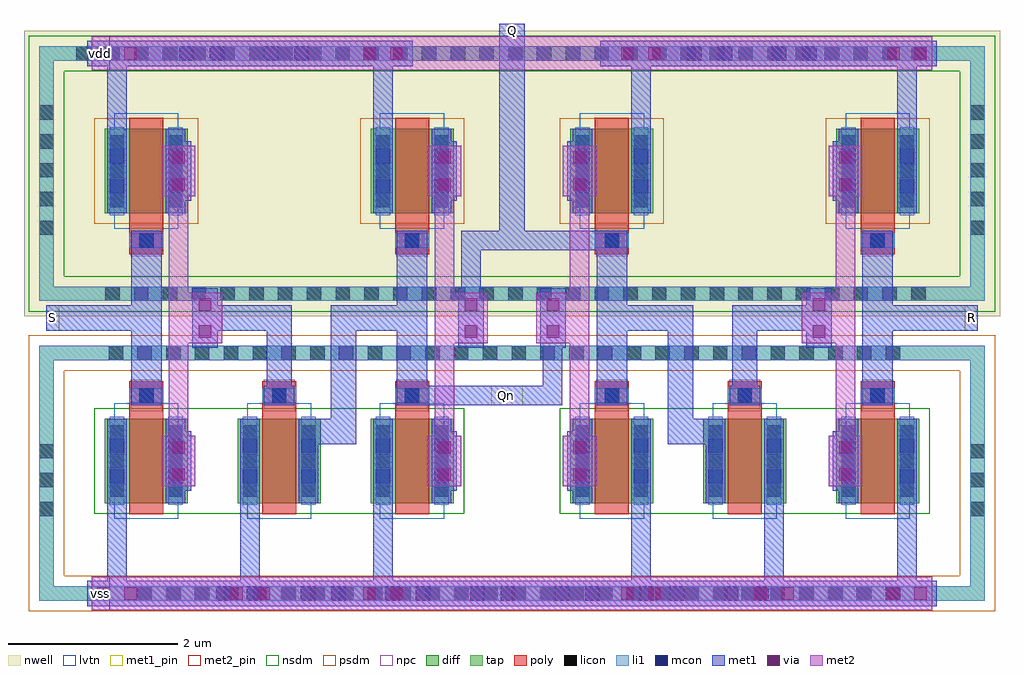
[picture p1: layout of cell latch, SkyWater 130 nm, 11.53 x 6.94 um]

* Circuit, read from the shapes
.subckt latch Q Qn R S vdd vss
XM1 n1 S vss vss sky130_fd_pr__nfet_01v8_lvt w=1 l=0.4
XM2 Qn n1 vss vss sky130_fd_pr__nfet_01v8_lvt w=1 l=0.4
XM3 Q Qn vss vss sky130_fd_pr__nfet_01v8_lvt w=1 l=0.4
XM4 vss Q Qn vss sky130_fd_pr__nfet_01v8_lvt w=1 l=0.4
XM5 vss n2 Q vss sky130_fd_pr__nfet_01v8_lvt w=1 l=0.4
XM6 vss R n2 vss sky130_fd_pr__nfet_01v8_lvt w=1 l=0.4
XM7 n1 S vdd vdd sky130_fd_pr__pfet_01v8_lvt w=1 l=0.4
XM8 Q Qn vdd vdd sky130_fd_pr__pfet_01v8_lvt w=1 l=0.4
XM9 vdd Q Qn vdd sky130_fd_pr__pfet_01v8_lvt w=1 l=0.4
XM10 vdd R n2 vdd sky130_fd_pr__pfet_01v8_lvt w=1 l=0.4
.ends

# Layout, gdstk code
import gdstk
lib = gdstk.Library(unit=1e-6, precision=1e-09)
def R(c, l, rs):  # rectangles x0, y0, x1, y1
    for r in rs: c.add(gdstk.rectangle(r[:2], r[2:], *l))
def A(c, l, x, y, w, h, nx, ny, dx, dy):  # array of equal rectangles
    R(c, l, [(x+i*dx, y+j*dy, x+i*dx+w, y+j*dy+h) for i in range(nx) for j in range(ny)])
nwell = (64, 20)
diff = (65, 20)
tap = (65, 44)
poly = (66, 20)
licon = (66, 44)
li1 = (67, 20)
mcon = (67, 44)
met1_pin = (68, 16)
met1 = (68, 20)
via = (68, 44)
met2_pin = (69, 16)
met2 = (69, 20)
nsdm = (93, 44)
psdm = (94, 20)
npc = (95, 20)
lvtn = (125, 44)

latch = lib.new_cell('latch')
R(latch, nwell, [(0,3.285,11.53,6.655)])
A(latch, diff, 0.955, 1.075, 0.98, 1, 3, 1, 1.57, 0)
A(latch, diff, 6.455, 1.075, 0.98, 1, 3, 1, 1.57, 0)
R(latch, diff, [(0.955,4.5,1.935,5.5), (4.095,4.5,5.075,5.5), (6.455,4.5,7.435,5.5), (9.595,4.5,10.575,5.5)])
R(latch, tap, [(0.18,-0.075,11.35,0.095), (0.18,0.095,0.35,2.765), (11.18,0.095,11.35,2.765), (0.18,2.765,11.35,2.935), (0.18,3.465,11.35,3.635), (0.18,3.635,0.35,6.305), (11.18,3.635,11.35,6.305), (0.18,6.305,11.35,6.475)])
A(latch, poly, 1.245, 0.945, 0.4, 1.57, 3, 1, 1.57, 0)
A(latch, poly, 6.745, 0.945, 0.4, 1.57, 3, 1, 1.57, 0)
R(latch, poly, [(1.245,4.015,1.645,5.63), (4.385,4.015,4.785,5.63), (6.745,4.015,7.145,5.63), (9.885,4.015,10.285,5.63)])
A(latch, licon, 1.34, -0.075, 0.17, 0.17, 27, 1, 0.34, 0)
A(latch, licon, 0.18, 0.925, 0.17, 0.17, 1, 3, 0, 0.34)
A(latch, licon, 11.18, 0.925, 0.17, 0.17, 1, 3, 0, 0.34)
A(latch, licon, 1.015, 1.15, 0.17, 0.17, 1, 3, 0, 0.34)
A(latch, licon, 1.705, 1.15, 0.17, 0.17, 1, 3, 0, 0.34)
A(latch, licon, 2.585, 1.15, 0.17, 0.17, 1, 3, 0, 0.34)
A(latch, licon, 3.275, 1.15, 0.17, 0.17, 1, 3, 0, 0.34)
A(latch, licon, 4.155, 1.15, 0.17, 0.17, 1, 3, 0, 0.34)
A(latch, licon, 4.845, 1.15, 0.17, 0.17, 1, 3, 0, 0.34)
A(latch, licon, 6.515, 1.15, 0.17, 0.17, 1, 3, 0, 0.34)
A(latch, licon, 7.205, 1.15, 0.17, 0.17, 1, 3, 0, 0.34)
A(latch, licon, 8.085, 1.15, 0.17, 0.17, 1, 3, 0, 0.34)
A(latch, licon, 8.775, 1.15, 0.17, 0.17, 1, 3, 0, 0.34)
A(latch, licon, 9.655, 1.15, 0.17, 0.17, 1, 3, 0, 0.34)
A(latch, licon, 10.345, 1.15, 0.17, 0.17, 1, 3, 0, 0.34)
A(latch, licon, 1.36, 2.265, 0.17, 0.17, 3, 1, 1.57, 0)
A(latch, licon, 6.86, 2.265, 0.17, 0.17, 3, 1, 1.57, 0)
A(latch, licon, 1, 2.765, 0.17, 0.17, 28, 1, 0.34, 0)
A(latch, licon, 0.96, 3.465, 0.17, 0.17, 29, 1, 0.34, 0)
A(latch, licon, 0.18, 4.245, 0.17, 0.17, 1, 5, 0, 0.34)
A(latch, licon, 11.18, 4.245, 0.17, 0.17, 1, 5, 0, 0.34)
A(latch, licon, 1.015, 4.575, 0.17, 0.17, 1, 3, 0, 0.34)
A(latch, licon, 1.705, 4.575, 0.17, 0.17, 1, 3, 0, 0.34)
A(latch, licon, 4.155, 4.575, 0.17, 0.17, 1, 3, 0, 0.34)
A(latch, licon, 4.845, 4.575, 0.17, 0.17, 1, 3, 0, 0.34)
A(latch, licon, 6.515, 4.575, 0.17, 0.17, 1, 3, 0, 0.34)
A(latch, licon, 7.205, 4.575, 0.17, 0.17, 1, 3, 0, 0.34)
A(latch, licon, 9.655, 4.575, 0.17, 0.17, 1, 3, 0, 0.34)
A(latch, licon, 10.345, 4.575, 0.17, 0.17, 1, 3, 0, 0.34)
A(latch, licon, 0.62, 6.305, 0.17, 0.17, 30, 1, 0.34, 0)
R(latch, licon, [(1.36,4.095,1.53,4.265), (4.5,4.095,4.67,4.265), (6.86,4.095,7.03,4.265), (10,4.095,10.17,4.265)])
A(latch, li1, 1.245, 2.265, 0.4, 0.17, 3, 1, 1.57, 0)
A(latch, li1, 6.745, 2.265, 0.4, 0.17, 3, 1, 1.57, 0)
R(latch, li1, [(0.18,-0.075,11.35,0.095), (0.18,0.095,0.35,2.765), (11.18,0.095,11.35,2.765), (1.015,1.055,1.185,2.095), (1.705,1.055,1.875,2.095), (2.585,1.055,2.755,2.095), (3.275,1.055,3.445,2.095), (4.155,1.055,4.325,2.095), (4.845,1.055,5.015,2.095), (6.515,1.055,6.685,2.095), (7.205,1.055,7.375,2.095), (8.085,1.055,8.255,2.095), (8.775,1.055,8.945,2.095), (9.655,1.055,9.825,2.095), (10.345,1.055,10.515,2.095), (0.18,2.765,11.35,2.935), (0.18,3.465,11.35,3.635), (0.18,3.635,0.35,6.305), (11.18,3.635,11.35,6.305), (1.245,4.095,1.645,4.265), (4.385,4.095,4.785,4.265), (6.745,4.095,7.145,4.265), (9.885,4.095,10.285,4.265), (1.015,4.48,1.185,5.52), (1.705,4.48,1.875,5.52), (4.155,4.48,4.325,5.52), (4.845,4.48,5.015,5.52), (6.515,4.48,6.685,5.52), (7.205,4.48,7.375,5.52), (9.655,4.48,9.825,5.52), (10.345,4.48,10.515,5.52), (0.18,6.305,11.35,6.475)])
A(latch, mcon, 1.36, 2.265, 0.17, 0.17, 3, 1, 1.57, 0)
A(latch, mcon, 6.86, 2.265, 0.17, 0.17, 3, 1, 1.57, 0)
R(latch, mcon, [(2.27,-0.075,2.44,0.095), (2.63,-0.075,2.8,0.095), (3.27,-0.075,3.44,0.095), (3.63,-0.075,3.8,0.095), (4.27,-0.075,4.44,0.095), (4.63,-0.075,4.8,0.095), (5.27,-0.075,5.44,0.095), (5.63,-0.075,5.8,0.095), (6.27,-0.075,6.44,0.095), (6.63,-0.075,6.8,0.095), (7.27,-0.075,7.44,0.095), (7.63,-0.075,7.8,0.095), (8.27,-0.075,8.44,0.095), (8.63,-0.075,8.8,0.095), (1.015,1.31,1.185,1.48), (1.705,1.31,1.875,1.48), (2.585,1.31,2.755,1.48), (3.275,1.31,3.445,1.48), (4.155,1.31,4.325,1.48), (4.845,1.31,5.015,1.48), (6.515,1.31,6.685,1.48), (7.205,1.31,7.375,1.48), (8.085,1.31,8.255,1.48), (8.775,1.31,8.945,1.48), (9.655,1.31,9.825,1.48), (10.345,1.31,10.515,1.48), (1.015,1.67,1.185,1.84), (1.705,1.67,1.875,1.84), (2.585,1.67,2.755,1.84), (3.275,1.67,3.445,1.84), (4.155,1.67,4.325,1.84), (4.845,1.67,5.015,1.84), (6.515,1.67,6.685,1.84), (7.205,1.67,7.375,1.84), (8.085,1.67,8.255,1.84), (8.775,1.67,8.945,1.84), (9.655,1.67,9.825,1.84), (10.345,1.67,10.515,1.84), (1.36,4.095,1.53,4.265), (4.5,4.095,4.67,4.265), (6.86,4.095,7.03,4.265), (10,4.095,10.17,4.265), (1.015,4.735,1.185,4.905), (1.705,4.735,1.875,4.905), (4.155,4.735,4.325,4.905), (4.845,4.735,5.015,4.905), (6.515,4.735,6.685,4.905), (7.205,4.735,7.375,4.905), (9.655,4.735,9.825,4.905), (10.345,4.735,10.515,4.905), (1.015,5.095,1.185,5.265), (1.705,5.095,1.875,5.265), (4.155,5.095,4.325,5.265), (4.845,5.095,5.015,5.265), (6.515,5.095,6.685,5.265), (7.205,5.095,7.375,5.265), (9.655,5.095,9.825,5.265), (10.345,5.095,10.515,5.265), (1.835,6.305,2.005,6.475), (2.195,6.305,2.365,6.475), (2.835,6.305,3.005,6.475), (3.195,6.305,3.365,6.475), (7.835,6.305,8.005,6.475), (8.195,6.305,8.365,6.475), (8.835,6.305,9.005,6.475), (9.195,6.305,9.365,6.475)])
R(latch, met1_pin, [(5.52,2.235,5.89,2.465), (0.265,3.115,0.415,3.415), (11.115,3.115,11.265,3.415), (5.615,6.59,5.915,6.74)])
A(latch, met1, 0.985, 0.16, 0.23, 1.915, 3, 1, 1.57, 0)
A(latch, met1, 7.175, 0.16, 0.23, 1.915, 3, 1, 1.57, 0)
R(latch, met1, [(0.75,-0.14,10.78,0.16), (1.675,1.075,1.905,1.225), (3.245,1.075,3.475,1.775), (4.815,1.075,5.045,1.225), (6.485,1.075,6.715,1.225), (8.055,1.075,8.285,1.775), (9.625,1.075,9.855,1.225), (1.675,1.225,1.975,1.925), (4.815,1.225,5.115,1.925), (6.415,1.225,6.715,1.925), (9.555,1.225,9.855,1.925), (3.245,1.775,3.925,2.075), (7.605,1.775,8.285,2.075), (1.675,1.925,1.905,2.075), (4.815,1.925,5.045,2.075), (6.485,1.925,6.715,2.075), (9.625,1.925,9.855,2.075), (3.625,2.075,3.925,3.115), (7.605,2.075,7.905,3.115), (1.265,2.235,1.625,3.115), (2.835,2.235,3.195,2.465), (4.405,2.235,6.36,2.465), (6.765,2.235,7.125,3.115), (8.335,2.235,8.695,2.465), (9.905,2.235,10.265,3.115), (2.865,2.465,3.165,3.115), (4.405,2.465,4.765,3.115), (6.13,2.465,6.36,2.915), (8.365,2.465,8.665,3.115), (1.99,2.915,2.29,3.115), (5.13,2.915,5.43,3.615), (6.1,2.915,6.4,3.615), (9.24,2.915,9.54,3.115), (0.265,3.115,1.625,3.415), (1.99,3.115,3.165,3.415), (3.625,3.115,4.765,3.415), (6.765,3.115,7.905,3.415), (8.365,3.115,9.54,3.415), (9.905,3.115,11.265,3.415), (1.265,3.415,1.625,4.295), (1.99,3.415,2.29,3.615), (4.405,3.415,4.765,4.295), (6.765,3.415,7.125,4.065), (9.24,3.415,9.54,3.615), (9.905,3.415,10.265,4.295), (5.165,3.615,5.395,4.065), (5.165,4.065,7.125,4.295), (5.615,4.295,5.915,6.74), (0.985,4.5,1.215,6.24), (1.675,4.5,1.905,4.65), (4.125,4.5,4.355,6.24), (4.815,4.5,5.045,4.65), (6.485,4.5,6.715,4.65), (7.175,4.5,7.405,6.24), (9.625,4.5,9.855,4.65), (10.315,4.5,10.545,6.24), (1.675,4.65,1.975,5.35), (4.815,4.65,5.115,5.35), (6.415,4.65,6.715,5.35), (9.555,4.65,9.855,5.35), (1.675,5.35,1.905,5.5), (4.815,5.35,5.045,5.5), (6.485,5.35,6.715,5.5), (9.625,5.35,9.855,5.5), (0.75,6.24,4.59,6.54), (6.805,6.24,10.78,6.54)])
R(latch, via, [(0.865,-0.065,1.015,0.085), (1.185,-0.065,1.335,0.085), (2.435,-0.065,2.585,0.085), (2.755,-0.065,2.905,0.085), (4.005,-0.065,4.155,0.085), (4.325,-0.065,4.475,0.085), (7.055,-0.065,7.205,0.085), (7.375,-0.065,7.525,0.085), (8.625,-0.065,8.775,0.085), (8.945,-0.065,9.095,0.085), (10.195,-0.065,10.345,0.085), (10.515,-0.065,10.665,0.085), (1.75,1.34,1.9,1.49), (4.89,1.34,5.04,1.49), (6.49,1.34,6.64,1.49), (9.63,1.34,9.78,1.49), (1.75,1.66,1.9,1.81), (4.89,1.66,5.04,1.81), (6.49,1.66,6.64,1.81), (9.63,1.66,9.78,1.81), (2.065,3.03,2.215,3.18), (5.205,3.03,5.355,3.18), (6.175,3.03,6.325,3.18), (9.315,3.03,9.465,3.18), (2.065,3.35,2.215,3.5), (5.205,3.35,5.355,3.5), (6.175,3.35,6.325,3.5), (9.315,3.35,9.465,3.5), (1.75,4.765,1.9,4.915), (4.89,4.765,5.04,4.915), (6.49,4.765,6.64,4.915), (9.63,4.765,9.78,4.915), (1.75,5.085,1.9,5.235), (4.89,5.085,5.04,5.235), (6.49,5.085,6.64,5.235), (9.63,5.085,9.78,5.235), (0.865,6.315,1.015,6.465), (1.185,6.315,1.335,6.465), (4.005,6.315,4.155,6.465), (4.325,6.315,4.475,6.465), (7.055,6.315,7.205,6.465), (7.375,6.315,7.525,6.465), (10.195,6.315,10.345,6.465), (10.515,6.315,10.665,6.465)])
R(latch, met2_pin, [(0.8,-0.19,1.015,0.21), (0.8,6.19,1.015,6.59)])
R(latch, met2, [(0.8,-0.19,10.73,0.21), (1.625,1.275,2.025,1.875), (4.765,1.275,5.165,1.875), (6.365,1.275,6.765,1.875), (9.505,1.275,9.905,1.875), (1.71,1.875,1.94,2.965), (4.85,1.875,5.08,2.965), (6.45,1.875,6.68,2.965), (9.59,1.875,9.82,2.965), (1.71,2.965,2.34,3.565), (4.85,2.965,5.48,3.565), (6.05,2.965,6.68,3.565), (9.19,2.965,9.82,3.565), (1.71,3.565,1.94,4.7), (4.85,3.565,5.08,4.7), (6.45,3.565,6.68,4.7), (9.59,3.565,9.82,4.7), (1.625,4.7,2.025,5.3), (4.765,4.7,5.165,5.3), (6.365,4.7,6.765,5.3), (9.505,4.7,9.905,5.3), (0.8,6.19,10.73,6.59)])
R(latch, nsdm, [(0.83,0.95,5.2,2.2), (6.33,0.95,10.7,2.2), (0.055,3.34,11.475,3.76), (0.055,3.76,0.475,6.18), (11.055,3.76,11.475,6.18), (0.055,6.18,11.475,6.6)])
R(latch, psdm, [(0.055,-0.2,11.475,0.22), (0.055,0.22,0.475,2.64), (11.055,0.22,11.475,2.64), (0.055,2.64,11.475,3.06), (0.83,4.375,2.06,5.625), (3.97,4.375,5.2,5.625), (6.33,4.375,7.56,5.625), (9.47,4.375,10.7,5.625)])
A(latch, npc, 1.26, 2.165, 0.37, 0.37, 3, 1, 1.57, 0)
A(latch, npc, 6.76, 2.165, 0.37, 0.37, 3, 1, 1.57, 0)
R(latch, npc, [(1.26,3.995,1.63,4.365), (4.4,3.995,4.77,4.365), (6.76,3.995,7.13,4.365), (9.9,3.995,10.27,4.365)])
A(latch, lvtn, 1.065, 0.895, 0.76, 1.36, 3, 1, 1.57, 0)
A(latch, lvtn, 6.565, 0.895, 0.76, 1.36, 3, 1, 1.57, 0)
R(latch, lvtn, [(1.065,4.32,1.825,5.68), (4.205,4.32,4.965,5.68), (6.565,4.32,7.325,5.68), (9.705,4.32,10.465,5.68)])
latch.add(gdstk.Label('vdd', (0.907,6.39), layer=69, texttype=5))
latch.add(gdstk.Label('vss', (0.907,0.01), layer=69, texttype=5))
latch.add(gdstk.Label('Qn', (5.705,2.35), layer=68, texttype=5))
latch.add(gdstk.Label('S', (0.34,3.265), layer=68, texttype=5))
latch.add(gdstk.Label('R', (11.19,3.265), layer=68, texttype=5))
latch.add(gdstk.Label('Q', (5.765,6.665), layer=68, texttype=5))

lib.write_gds('latch.gds')
